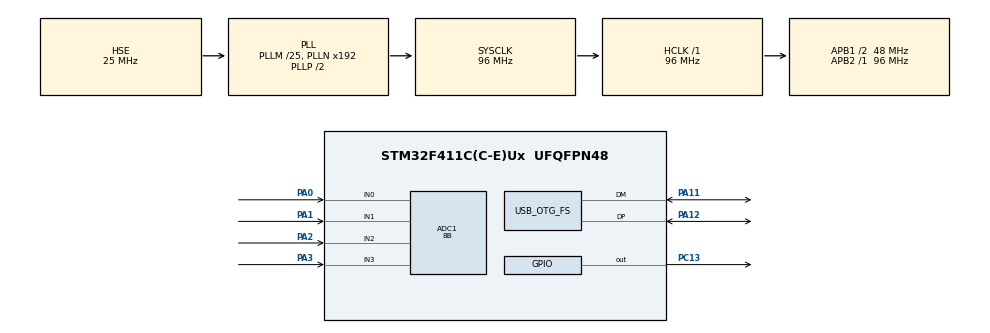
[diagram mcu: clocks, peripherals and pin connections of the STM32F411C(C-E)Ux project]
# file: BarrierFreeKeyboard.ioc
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ADC1.Channel-0\#ChannelRegularConversion=ADC_CHANNEL_0
ADC1.Channel-1\#ChannelRegularConversion=ADC_CHANNEL_1
ADC1.Channel-2\#ChannelRegularConversion=ADC_CHANNEL_2
ADC1.Channel-3\#ChannelRegularConversion=ADC_CHANNEL_3
ADC1.ContinuousConvMode=DISABLE
ADC1.NbrOfConversion=4
ADC1.NbrOfConversionFlag=1
ADC1.Rank-0\#ChannelRegularConversion=1
ADC1.Rank-1\#ChannelRegularConversion=2
ADC1.Rank-2\#ChannelRegularConversion=3
ADC1.Rank-3\#ChannelRegularConversion=4
ADC1.Resolution=ADC_RESOLUTION_8B
ADC1.SamplingTime-0\#ChannelRegularConversion=ADC_SAMPLETIME_480CYCLES
ADC1.SamplingTime-1\#ChannelRegularConversion=ADC_SAMPLETIME_480CYCLES
ADC1.SamplingTime-2\#ChannelRegularConversion=ADC_SAMPLETIME_480CYCLES
ADC1.SamplingTime-3\#ChannelRegularConversion=ADC_SAMPLETIME_480CYCLES
ADC1.ScanConvMode=ENABLE
ADC1.master=1
Dma.ADC1.0.Direction=DMA_PERIPH_TO_MEMORY
Dma.ADC1.0.FIFOMode=DMA_FIFOMODE_DISABLE
Dma.ADC1.0.Instance=DMA2_Stream0
Dma.ADC1.0.MemDataAlignment=DMA_MDATAALIGN_HALFWORD
Dma.ADC1.0.MemInc=DMA_MINC_ENABLE
Dma.ADC1.0.Mode=DMA_NORMAL
Dma.ADC1.0.PeriphDataAlignment=DMA_PDATAALIGN_HALFWORD
Dma.ADC1.0.PeriphInc=DMA_PINC_DISABLE
Dma.ADC1.0.Priority=DMA_PRIORITY_LOW
Dma.Request0=ADC1
FREERTOS.Tasks01=StartPolling,24,128,StarPollingTask,Default,NULL,Dynamic,NULL,NULL;InputProcessing,25,128,StartInputProcessing,Default,NULL,Dynamic,NULL,NULL
FREERTOS.Timers01=capitalTimer,capitalTimerCallback,osTimerOnce,Default,NULL,Dynamic,NULL;modeTimer,modeTimerCallback,osTimerOnce,Default,NULL,Dynamic,NULL
FREERTOS.configUSE_NEWLIB_REENTRANT=1
Mcu.Family=STM32F4
Mcu.Name=STM32F411C(C-E)Ux
Mcu.Package=UFQFPN48
NVIC.DMA2_Stream0_IRQn=true\:5\:0\:false\:false\:true\:true\:false\:true\:true
NVIC.OTG_FS_IRQn=true\:5\:0\:false\:false\:true\:true\:false\:true\:true
NVIC.PriorityGroup=NVIC_PRIORITYGROUP_4
NVIC.TIM1_UP_TIM10_IRQn=true\:5\:0\:false\:false\:true\:false\:false\:true\:true
NVIC.TimeBase=TIM1_UP_TIM10_IRQn
NVIC.TimeBaseIP=TIM10
PA0-WKUP.Signal=ADCx_IN0
PA1.Signal=ADCx_IN1
PA11.Mode=Device_Only
PA11.Signal=USB_OTG_FS_DM
PA12.Mode=Device_Only
PA12.Signal=USB_OTG_FS_DP
PA2.Signal=ADCx_IN2
PA3.Signal=ADCx_IN3
PC13-ANTI_TAMP.Signal=GPIO_Output
PH0\ -\ OSC_IN.Mode=HSE-External-Oscillator
PH0\ -\ OSC_IN.Signal=RCC_OSC_IN
PH1\ -\ OSC_OUT.Mode=HSE-External-Oscillator
PH1\ -\ OSC_OUT.Signal=RCC_OSC_OUT
ProjectManager.HeapSize=0x200
ProjectManager.StackSize=0x400
ProjectManager.TargetToolchain=STM32CubeIDE
RCC.48MHZClocksFreq_Value=48000000
RCC.AHBFreq_Value=96000000
RCC.APB1CLKDivider=RCC_HCLK_DIV2
RCC.APB1Freq_Value=48000000
RCC.APB1TimFreq_Value=96000000
RCC.APB2Freq_Value=96000000
RCC.APB2TimFreq_Value=96000000
RCC.CortexFreq_Value=96000000
RCC.HCLKFreq_Value=96000000
RCC.HSE_VALUE=25000000
RCC.HSI_VALUE=16000000
RCC.LSE_VALUE=32768
RCC.PLLM=25
RCC.SYSCLKFreq_VALUE=96000000
RCC.SYSCLKSource=RCC_SYSCLKSOURCE_PLLCLK
RCC.VCOOutputFreq_Value=192000000
SH.ADCx_IN0.0=ADC1_IN0,IN0
SH.ADCx_IN1.0=ADC1_IN1,IN1
SH.ADCx_IN2.0=ADC1_IN2,IN2
SH.ADCx_IN3.0=ADC1_IN3,IN3
USB_DEVICE.CLASS_NAME_FS=CUSTOM_HID
USB_DEVICE.CUSTOM_HID_FS_BINTERVAL=0x1
USB_DEVICE.USBD_CUSTOM_HID_REPORT_DESC_SIZE=101
USB_DEVICE.VirtualMode=CustomHid
USB_DEVICE.VirtualModeFS=Custom_Hid_FS
USB_OTG_FS.VirtualMode=Device_Only
VP_FREERTOS_VS_CMSIS_V2.Mode=CMSIS_V2
VP_SYS_VS_tim10.Mode=TIM10
VP_USB_DEVICE_VS_USB_DEVICE_CUSTOM_HID_FS.Mode=CUSTOM_HID_FS
board=custom

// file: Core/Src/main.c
/* USER CODE BEGIN Header */
/**
 ******************************************************************************
 * @file           : main.c
 * @brief          : Main program body
 ******************************************************************************
 * @attention
 *
 * Copyright (c) 2023 STMicroelectronics.
 * All rights reserved.
 *
 * This software is licensed under terms that can be found in the LICENSE file
 * in the root directory of this software component.
 * If no LICENSE file comes with this software, it is provided AS-IS.
 *
 ******************************************************************************
 */
/* USER CODE END Header */
#include "main.h"
#include "cmsis_os.h"
#include "usb_device.h"

/* USER CODE BEGIN Includes */

//#include <stdint.h>
#include <stdbool.h>
#include "math.h"
//#include <stdlib.h>
#include "timers.h"
#include "usbd_custom_hid_if.h"
/* USER CODE END Includes */

/* USER CODE BEGIN PTD */

#define keyA 0x04
#define keyB 0x05
#define keyC 0x06
#define keyD 0x07
#define keyE 0x08
#define keyF 0x09
#define keyG 0x0A
#define keyH 0x0B
#define keyI 0x0C
#define keyJ 0x0D
#define keyK 0x0E
#define keyL 0x0F
#define keyM 0x10
#define keyN 0x11
#define keyO 0x12
#define keyP 0x13
#define keyQ 0x14
#define keyR 0x15
#define keyS 0x16
#define keyT 0x17
#define keyU 0x18
#define keyV 0x19
#define keyW 0x1A
#define keyX 0x1B
#define keyY 0x1C
#define keyZ 0x1D
#define key1 0x1E
#define key2 0x1F
#define key3 0x20
#define key4 0x21
#define key5 0x22
#define key6 0x23
#define key7 0x24
#define key8 0x25
#define key9 0x26
#define key0 0x27
#define keySpace 0x2C
#define keyDash 0x2D
#define keyPeriod 0x37
#define keyComma 0x36
#define keySlash 0x38
#define keyShift 0x02
#define keyBackSpace 0x2A
#define keyEnter 0x28
#define keyCTRL 0x01

typedef struct {
	uint8_t reportId;                                 // Report ID = 0x01 (1)
													  // Collection: CA:Keyboard
	uint8_t KB_KeyboardKeyboardLeftControl :1; // Usage 0x000700E0: Keyboard Left Control, Value = 0 to 1
	uint8_t KB_KeyboardKeyboardLeftShift :1; // Usage 0x000700E1: Keyboard Left Shift, Value = 0 to 1
	uint8_t KB_KeyboardKeyboardLeftAlt :1; // Usage 0x000700E2: Keyboard Left Alt, Value = 0 to 1
	uint8_t KB_KeyboardKeyboardLeftGui :1; // Usage 0x000700E3: Keyboard Left GUI, Value = 0 to 1
	uint8_t KB_KeyboardKeyboardRightControl :1; // Usage 0x000700E4: Keyboard Right Control, Value = 0 to 1
	uint8_t KB_KeyboardKeyboardRightShift :1; // Usage 0x000700E5: Keyboard Right Shift, Value = 0 to 1
	uint8_t KB_KeyboardKeyboardRightAlt :1; // Usage 0x000700E6: Keyboard Right Alt, Value = 0 to 1
	uint8_t KB_KeyboardKeyboardRightGui :1; // Usage 0x000700E7: Keyboard Right GUI, Value = 0 to 1
	uint8_t pad_2;                                    // Pad
	uint8_t Keyboard[2];                              // Value = 0 to 101
} KeyboardReport_t;

typedef struct {
	uint8_t reportId;                                 // Report ID = 0x02 (2)
													  // Collection: CA:Mouse CP:Pointer
	uint8_t BTN_MousePointerButton1 :1; // Usage 0x00090001: Button 1 Primary/trigger, Value = 0 to 1
	uint8_t BTN_MousePointerButton2 :1; // Usage 0x00090002: Button 2 Secondary, Value = 0 to 1
	uint8_t BTN_MousePointerButton3 :1; // Usage 0x00090003: Button 3 Tertiary, Value = 0 to 1
	uint8_t :5;                                      // Pad
	int8_t GD_MousePointerX;         // Usage 0x00010030: X, Value = -127 to 127
	int8_t GD_MousePointerY;         // Usage 0x00010031: Y, Value = -127 to 127
	int8_t GD_MousePointerWheel; // Usage 0x00010038: Wheel, Value = -127 to 127
} MouseReport_t;

/* USER CODE END PTD */

/* USER CODE BEGIN PM */

extern USBD_HandleTypeDef hUsbDeviceFS;

KeyboardReport_t keyboard_report;
MouseReport_t mouse_report;

/* USER CODE END PM */

ADC_HandleTypeDef hadc1;
DMA_HandleTypeDef hdma_adc1;

/* Definitions for StartPolling */
osThreadId_t StartPollingHandle;
const osThreadAttr_t StartPolling_attributes = {
  .name = "StartPolling",
  .stack_size = 128 * 4,
  .priority = (osPriority_t) osPriorityNormal,
};
/* Definitions for InputProcessing */
osThreadId_t InputProcessingHandle;
const osThreadAttr_t InputProcessing_attributes = {
  .name = "InputProcessing",
  .stack_size = 128 * 4,
  .priority = (osPriority_t) osPriorityNormal1,
};
/* Definitions for capitalTimer */
osTimerId_t capitalTimerHandle;
const osTimerAttr_t capitalTimer_attributes = {
  .name = "capitalTimer"
};
/* Definitions for modeTimer */
osTimerId_t modeTimerHandle;
const osTimerAttr_t modeTimer_attributes = {
  .name = "modeTimer"
};
/* USER CODE BEGIN PV */

const float CDegConv = 57.2957795;

bool zoneReset = true;

bool modeReset = true;

bool validInputAction = false;

bool mouseMode = true;

bool buttonReset = true;

int mouse_speed = 25; //higher number, lower speed
int angleMargin = 20;
int turnMargin = 10;
int mouseThreshhold = 20;
int angleDist1[2] = { 0 };
int angleDist2[2] = { 0 };
int zone1 = 0;
int zone2 = 0;
int currentKeycode = 0;

char currentChar = '0';

int timeTilCapital = 500;

int timeTilModeSwitch = 500;

int angleDist[2];

int numberOfZones = 8; //To customize layout via Desktop program in future versions
float zoneSize = 0;
int distThresh = 64; // between 0 and 127 (ignoring imprecision. Actual range may be smaller)

int keycodeDict[8][8] = { { keyA, keyB, keyC, keyD, keyE, keyF, keyG, keyH },
		{ keyI, keyJ, keyK, keyL, keyM, keyN, keyO, keyP },
		{ keyQ, keyR, keyS, keyT, keyU, keyV, keyW, keyX },
		{ keyY, keyZ, keySpace, keySpace, keySpace, keySpace, keySpace, keySpace },
		{ key0, key1, key2, key3, key4, key5, key6, key7 },
		{ key8, key9, keySpace, keySpace, keySpace, keySpace, keySpace, keySpace },
		{ keyDash, keyPeriod, keyComma, keySlash, keyBackSpace, keyEnter, keySpace, keySpace },
		{ keySpace, keySpace, keySpace, keySpace, keySpace, keySpace, keySpace, keySpace } };

volatile uint16_t adcResultsDMA[4];
const int adcChannelCount = sizeof(adcResultsDMA) / sizeof(adcResultsDMA[0]);
volatile int adcConversionComplete = 0;

/* USER CODE END PV */

void SystemClock_Config(void);
static void MX_GPIO_Init(void);
static void MX_DMA_Init(void);
static void MX_ADC1_Init(void);
void StarPollingTask(void *argument);
void StartInputProcessing(void *argument);
void capitalTimerCallback(void *argument);
void modeTimerCallback(void *argument);

/* USER CODE BEGIN PFP */

void sendMouseButtons(int);
void sendMouse();
void checkModeSwitch(int, int);
void getAngleDist(int, int, int*);
int getZone(int*);
void getChar(int, int);
void initializeDictionary();
void capitalTimerCallback();
void sendCharacter(int, int);

/* USER CODE END PFP */

int main(void)
{
  /* USER CODE BEGIN 1 */

	keyboard_report.reportId = 0x01;
	mouse_report.reportId = 0x02;

	mouse_report.BTN_MousePointerButton1 = 0;
	mouse_report.BTN_MousePointerButton2 = 0;
	mouse_report.BTN_MousePointerButton3 = 0;
	mouse_report.GD_MousePointerWheel = 0;
	mouse_report.GD_MousePointerX = 0;
	mouse_report.GD_MousePointerY = 0;

	zoneSize = 360 / numberOfZones;
	initializeDictionary();

  /* USER CODE END 1 */

  /* MCU Configuration--------------------------------------------------------*/

  /* Reset of all peripherals, Initializes the Flash interface and the Systick. */
  HAL_Init();

  /* Configure the system clock */
  SystemClock_Config();

  /* Initialize all configured peripherals */
  MX_GPIO_Init();
  MX_DMA_Init();
  MX_ADC1_Init();

  /* Init scheduler */
  osKernelInitialize();

  /* Create the timer(s) */
  /* creation of capitalTimer */
  capitalTimerHandle = osTimerNew(capitalTimerCallback, osTimerOnce, NULL, &capitalTimer_attributes);

  /* creation of modeTimer */
  modeTimerHandle = osTimerNew(modeTimerCallback, osTimerOnce, NULL, &modeTimer_attributes);

  /* Create the thread(s) */
  /* creation of StartPolling */
  StartPollingHandle = osThreadNew(StarPollingTask, NULL, &StartPolling_attributes);

  /* creation of InputProcessing */
  InputProcessingHandle = osThreadNew(StartInputProcessing, NULL, &InputProcessing_attributes);

  /* Start scheduler */
  osKernelStart();
  /* We should never get here as control is now taken by the scheduler */
  /* Infinite loop */
	while (1) {

	}
}

void SystemClock_Config(void)
{
  RCC_OscInitTypeDef RCC_OscInitStruct = {0};
  RCC_ClkInitTypeDef RCC_ClkInitStruct = {0};

  /** Configure the main internal regulator output voltage
  */
  __HAL_RCC_PWR_CLK_ENABLE();
  __HAL_PWR_VOLTAGESCALING_CONFIG(PWR_REGULATOR_VOLTAGE_SCALE1);

  /** Initializes the RCC Oscillators according to the specified parameters
  * in the RCC_OscInitTypeDef structure.
  */
  RCC_OscInitStruct.OscillatorType = RCC_OSCILLATORTYPE_HSE;
  RCC_OscInitStruct.HSEState = RCC_HSE_ON;
  RCC_OscInitStruct.PLL.PLLState = RCC_PLL_ON;
  RCC_OscInitStruct.PLL.PLLSource = RCC_PLLSOURCE_HSE;
  RCC_OscInitStruct.PLL.PLLM = 25;
  RCC_OscInitStruct.PLL.PLLN = 192;
  RCC_OscInitStruct.PLL.PLLP = RCC_PLLP_DIV2;
  RCC_OscInitStruct.PLL.PLLQ = 4;
  if (HAL_RCC_OscConfig(&RCC_OscInitStruct) != HAL_OK)
  {
    Error_Handler();
  }

  /** Initializes the CPU, AHB and APB buses clocks
  */
  RCC_ClkInitStruct.ClockType = RCC_CLOCKTYPE_HCLK|RCC_CLOCKTYPE_SYSCLK
                              |RCC_CLOCKTYPE_PCLK1|RCC_CLOCKTYPE_PCLK2;
  RCC_ClkInitStruct.SYSCLKSource = RCC_SYSCLKSOURCE_PLLCLK;
  RCC_ClkInitStruct.AHBCLKDivider = RCC_SYSCLK_DIV1;
  RCC_ClkInitStruct.APB1CLKDivider = RCC_HCLK_DIV2;
  RCC_ClkInitStruct.APB2CLKDivider = RCC_HCLK_DIV1;

  if (HAL_RCC_ClockConfig(&RCC_ClkInitStruct, FLASH_LATENCY_3) != HAL_OK)
  {
    Error_Handler();
  }
}

static void MX_ADC1_Init(void)
{

  ADC_ChannelConfTypeDef sConfig = {0};

  /** Configure the global features of the ADC (Clock, Resolution, Data Alignment and number of conversion)
  */
  hadc1.Instance = ADC1;
  hadc1.Init.ClockPrescaler = ADC_CLOCK_SYNC_PCLK_DIV4;
  hadc1.Init.Resolution = ADC_RESOLUTION_8B;
  hadc1.Init.ScanConvMode = ENABLE;
  hadc1.Init.ContinuousConvMode = DISABLE;
  hadc1.Init.DiscontinuousConvMode = DISABLE;
  hadc1.Init.ExternalTrigConvEdge = ADC_EXTERNALTRIGCONVEDGE_NONE;
  hadc1.Init.ExternalTrigConv = ADC_SOFTWARE_START;
  hadc1.Init.DataAlign = ADC_DATAALIGN_RIGHT;
  hadc1.Init.NbrOfConversion = 4;
  hadc1.Init.DMAContinuousRequests = DISABLE;
  hadc1.Init.EOCSelection = ADC_EOC_SINGLE_CONV;
  if (HAL_ADC_Init(&hadc1) != HAL_OK)
  {
    Error_Handler();
  }

  /** Configure for the selected ADC regular channel its corresponding rank in the sequencer and its sample time.
  */
  sConfig.Channel = ADC_CHANNEL_0;
  sConfig.Rank = 1;
  sConfig.SamplingTime = ADC_SAMPLETIME_480CYCLES;
  if (HAL_ADC_ConfigChannel(&hadc1, &sConfig) != HAL_OK)
  {
    Error_Handler();
  }

  /** Configure for the selected ADC regular channel its corresponding rank in the sequencer and its sample time.
  */
  sConfig.Channel = ADC_CHANNEL_1;
  sConfig.Rank = 2;
  if (HAL_ADC_ConfigChannel(&hadc1, &sConfig) != HAL_OK)
  {
    Error_Handler();
  }

  /** Configure for the selected ADC regular channel its corresponding rank in the sequencer and its sample time.
  */
  sConfig.Channel = ADC_CHANNEL_2;
  sConfig.Rank = 3;
  if (HAL_ADC_ConfigChannel(&hadc1, &sConfig) != HAL_OK)
  {
    Error_Handler();
  }

  /** Configure for the selected ADC regular channel its corresponding rank in the sequencer and its sample time.
  */
  sConfig.Channel = ADC_CHANNEL_3;
  sConfig.Rank = 4;
  if (HAL_ADC_ConfigChannel(&hadc1, &sConfig) != HAL_OK)
  {
    Error_Handler();
  }

}

static void MX_DMA_Init(void)
{

  /* DMA controller clock enable */
  __HAL_RCC_DMA2_CLK_ENABLE();

  /* DMA interrupt init */
  /* DMA2_Stream0_IRQn interrupt configuration */
  HAL_NVIC_SetPriority(DMA2_Stream0_IRQn, 5, 0);
  HAL_NVIC_EnableIRQ(DMA2_Stream0_IRQn);

}

static void MX_GPIO_Init(void)
{
  GPIO_InitTypeDef GPIO_InitStruct = {0};

  /* GPIO Ports Clock Enable */
  __HAL_RCC_GPIOC_CLK_ENABLE();
  __HAL_RCC_GPIOH_CLK_ENABLE();
  __HAL_RCC_GPIOA_CLK_ENABLE();

  /*Configure GPIO pin Output Level */
  HAL_GPIO_WritePin(GPIOC, GPIO_PIN_13, GPIO_PIN_RESET);

  /*Configure GPIO pin : PC13 */
  GPIO_InitStruct.Pin = GPIO_PIN_13;
  GPIO_InitStruct.Mode = GPIO_MODE_OUTPUT_PP;
  GPIO_InitStruct.Pull = GPIO_NOPULL;
  GPIO_InitStruct.Speed = GPIO_SPEED_FREQ_LOW;
  HAL_GPIO_Init(GPIOC, &GPIO_InitStruct);

}

/* USER CODE BEGIN 4 */

void initializeDictionary() {
	// for config file reading
}

void sendCharacter(int keycode, int modifier) { //only supports shift as modifier for now
//	USBD_CUSTOM_HID_SendReport(&hUsbDeviceFS, (uint8_t*) &mouse_report, sizeof(MouseReport_t));
//	osDelay(500);

	keyboard_report.KB_KeyboardKeyboardLeftShift = modifier;
	keyboard_report.Keyboard[0] = keycode;
	USBD_CUSTOM_HID_SendReport(&hUsbDeviceFS, (uint8_t*) &keyboard_report,
			sizeof(KeyboardReport_t));
	osDelay(25);

	keyboard_report.KB_KeyboardKeyboardLeftShift = 0;
	keyboard_report.Keyboard[0] = 0x00;
	USBD_CUSTOM_HID_SendReport(&hUsbDeviceFS, (uint8_t*) &keyboard_report,
			sizeof(KeyboardReport_t));
	osDelay(50);
}

void sendMouse() {

	int X = adcResultsDMA[2] - 127;
	int Y = -(adcResultsDMA[3] - 127);

	mouse_report.GD_MousePointerX = 0;
	mouse_report.GD_MousePointerY = 0;

	if (abs(X) > mouseThreshhold)
		mouse_report.GD_MousePointerX = (X / mouse_speed);
	if (abs(Y) > mouseThreshhold)
		mouse_report.GD_MousePointerY = (Y / mouse_speed);
	USBD_CUSTOM_HID_SendReport(&hUsbDeviceFS, (uint8_t*) &mouse_report,
			sizeof(MouseReport_t));

}

void sendMouseButtons(int left) {

	if (left == -1)
		buttonReset = true;

	if (buttonReset && left != -1) {
		buttonReset = false;

		switch (left) {
		case 1:
			mouse_report.BTN_MousePointerButton3 = 1;
			USBD_CUSTOM_HID_SendReport(&hUsbDeviceFS, (uint8_t*) &mouse_report,
					sizeof(MouseReport_t));
			osDelay(25);
			mouse_report.BTN_MousePointerButton3 = 0;
			USBD_CUSTOM_HID_SendReport(&hUsbDeviceFS, (uint8_t*) &mouse_report,
					sizeof(MouseReport_t));
			break;
		case 2:
			break;
		case 3:
			mouse_report.BTN_MousePointerButton2 = 1;
			USBD_CUSTOM_HID_SendReport(&hUsbDeviceFS, (uint8_t*) &mouse_report,
					sizeof(MouseReport_t));
			osDelay(25);
			mouse_report.BTN_MousePointerButton2 = 0;
			USBD_CUSTOM_HID_SendReport(&hUsbDeviceFS, (uint8_t*) &mouse_report,
					sizeof(MouseReport_t));
			break;
		case 4:
			HAL_GPIO_TogglePin(GPIOD, GPIO_PIN_13);
			mouse_report.BTN_MousePointerButton1 = 1;
			USBD_CUSTOM_HID_SendReport(&hUsbDeviceFS, (uint8_t*) &mouse_report,
					sizeof(MouseReport_t));
			osDelay(25);
			mouse_report.BTN_MousePointerButton1 = 0;
			USBD_CUSTOM_HID_SendReport(&hUsbDeviceFS, (uint8_t*) &mouse_report,
					sizeof(MouseReport_t));
			break;
		case 5:
			mouse_report.BTN_MousePointerButton1 = 1;
			USBD_CUSTOM_HID_SendReport(&hUsbDeviceFS, (uint8_t*) &mouse_report,
					sizeof(MouseReport_t));
			osDelay(25);
			mouse_report.BTN_MousePointerButton1 = 0;
			USBD_CUSTOM_HID_SendReport(&hUsbDeviceFS, (uint8_t*) &mouse_report,
					sizeof(MouseReport_t));
			osDelay(25);
			mouse_report.BTN_MousePointerButton1 = 1;
			USBD_CUSTOM_HID_SendReport(&hUsbDeviceFS, (uint8_t*) &mouse_report,
					sizeof(MouseReport_t));
			osDelay(25);
			mouse_report.BTN_MousePointerButton1 = 0;
			USBD_CUSTOM_HID_SendReport(&hUsbDeviceFS, (uint8_t*) &mouse_report,
					sizeof(MouseReport_t));
			break;
		case 6:
			break;
		case 7:
			break;
		}
	}
}

void checkModeSwitch(int right, int left) {

	if (!(left == 0 && right == -1))
		osTimerStop(modeTimerHandle);
	if (right == -1 && left == -1) {
		modeReset = true;
		osTimerStop(modeTimerHandle);
	}

	if ((left == 0 && right == -1) && modeReset) {
		modeReset = false;
		osTimerStart(modeTimerHandle, timeTilModeSwitch);
	}

}

void getChar(int right, int left) {

	if (left == -1 || right == -1) {
		zoneReset = true;
		osTimerStop(capitalTimerHandle);
		return;
	}
	if ((left != -1 && right != -1) && zoneReset) {
		currentKeycode = keycodeDict[zone1][zone2];
		sendCharacter(keycodeDict[zone1][zone2], 0);
		zoneReset = false;
		osTimerStart(capitalTimerHandle, timeTilCapital);
	}
//	else if ((left == -1 && right == 4) && zoneReset) { //add Timer for this, else it'll get triggered by accident
//		sendCharacter(keyBackSpace, 0);
//		zoneReset = false;
//	}
}

void getAngleDist(int x, int y, int *resArr) {

	if (y == 0) {
		if (x >= 0)
			resArr[0] = 90;
		else
			resArr[0] = 270;

		resArr[1] = abs(x);

		return;
	}

	if (y >= 0) {
		if (x >= 0) {
			resArr[0] = (int) (atan(x / (float) y) * CDegConv);
		} else {
			resArr[0] = (int) (atan(x / (float) y) * CDegConv + 360);
		}
	} else {
		resArr[0] = (int) (atan(x / (float) y) * CDegConv + 180);
	}

	resArr[1] = (int) sqrt(x * x + y * y);

	return;
}

int getZone(int *angleDist) {
	if (*(angleDist + 1) >= distThresh) {
		return (int) ((*angleDist + zoneSize / 2) / zoneSize) % numberOfZones;
	} else {
		return -1;
	}
}

void HAL_ADC_ConvCpltCallback(ADC_HandleTypeDef *hadc) {
	adcConversionComplete = 1;
}
/* USER CODE END 4 */

void StarPollingTask(void *argument)
{
  /* init code for USB_DEVICE */
  MX_USB_DEVICE_Init();
  /* USER CODE BEGIN 5 */
	/* Infinite loop */
	for (;;) {
		HAL_ADC_Start_DMA(&hadc1, (uint32_t*) adcResultsDMA, adcChannelCount);
		adcConversionComplete = 0;

		getAngleDist(adcResultsDMA[2] - 127, adcResultsDMA[3] - 127,
				angleDist1);
		getAngleDist(adcResultsDMA[0] - 127, adcResultsDMA[1] - 127,
				angleDist2);

		zone1 = getZone(angleDist1);
		zone2 = getZone(angleDist2);

		osDelay(1);
	}
	osThreadTerminate(NULL);
  /* USER CODE END 5 */
}

void StartInputProcessing(void *argument)
{
  /* USER CODE BEGIN StartInputProcessing */
	/* Infinite loop */
	for (;;) {
		checkModeSwitch(zone1, zone2);
		if (!mouseMode)
			getChar(zone1, zone2);
		else {
			sendMouse();
			osDelay(25);
			sendMouseButtons(zone2);
		}
		osDelay(1);
	}
	osThreadTerminate(NULL);
  /* USER CODE END StartInputProcessing */
}

/* capitalTimerCallback function */
void capitalTimerCallback(void *argument)
{
  /* USER CODE BEGIN capitalTimerCallback */
	if (currentChar >= 'a' && currentChar <= 'z')
		currentChar = currentChar - 32;
	sendCharacter(keyBackSpace, 0);
	sendCharacter(currentKeycode, 1);
  /* USER CODE END capitalTimerCallback */
}

/* modeTimerCallback function */
void modeTimerCallback(void *argument)
{
  /* USER CODE BEGIN modeTimerCallback */
	HAL_GPIO_TogglePin(GPIOC, GPIO_PIN_13);
	mouseMode = !mouseMode;
  /* USER CODE END modeTimerCallback */
}

void HAL_TIM_PeriodElapsedCallback(TIM_HandleTypeDef *htim)
{
  if (htim->Instance == TIM10) {
    HAL_IncTick();
  }
}

void Error_Handler(void)
{
	__disable_irq();
	while (1) {
	}
}
